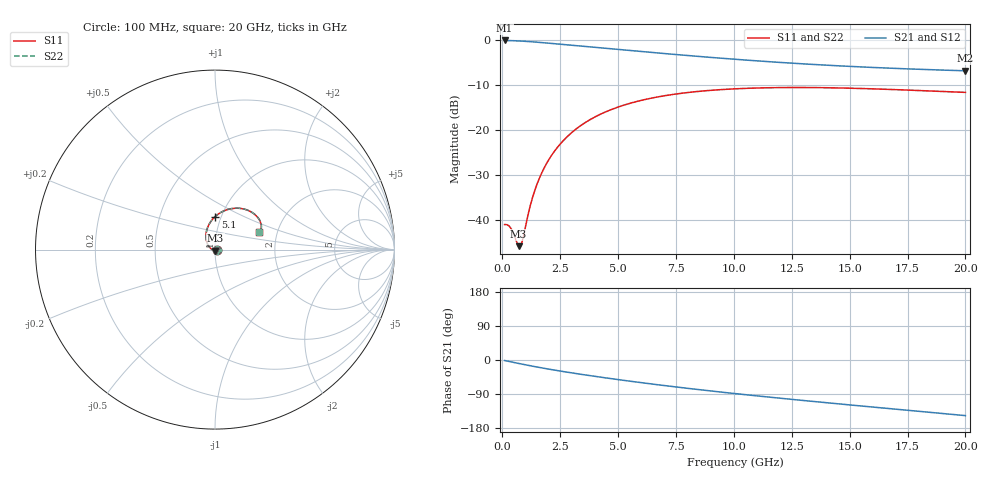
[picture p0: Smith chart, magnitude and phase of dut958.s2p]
! Touchstone file exported from HFSS 2024.1.0
!  File:  C:/UserFiles/LocalFiles/RDL_TSV_Batchsim/temp_RDL_TSV_958_1779967238.aedt
!  Generated:  07:34:17 PM May 28, 2026
!  Design:  RDL_TSV
!  Project:  temp_RDL_TSV_958_1779967238
!  Setup:  Setup1
!  Solution:  Sweep
! Variables:
!  dtsv = 9.14um
!  hbump = 3um
!  htsv = 62.81um
!  ldown = 444.61um
!  lrdl = 193.51um
!  p = 40
!  p1 = 49.41um
!  rhole = 10um
!  subl = 2107.87um
!  t = 450um
!  tdown = 3.44um
!  trdl = 4.01um
!  viad = 10um
!  wdown = 26.79um
!  wrdl = 24.05um
!  xbump = 18um
# GHz S MA R 50.000000
! Terminal data exported
! Port[1] = TM1_1_T1
! Port[2] = TM1_4_T1
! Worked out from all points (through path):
!   200 points, 100 MHz to 20 GHz, reference 50 ohm
!   highest |S21| = -0.08 dB at 100 MHz (marker M1); lowest = -6.8 dB at 20 GHz (marker M2)
!   group delay of S21, straight-line fit = 19.3 ps
!   lowest |S11| = -45.7 dB at 700 MHz (marker M3), VSWR 1.01, Z = 50.1 - j0.505 ohm
!   |S11| at or under -10 dB: start of sweep to end of sweep
!   |S22| runs from -45.7 to -10.5 dB; largest |S21 - S12| = 3.5e-14
!   S11 on the Smith chart (normalised r, x): 100 MHz: 1.02, -0.00; 5.1 GHz: 0.94, +0.36; 20 GHz: 1.60, +0.34
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0.1  0.008987 -3.0  0.9906 -1.3  0.9906 -1.3  0.008987 -3.0
! Gamma 0 0 0 0
! Port Impedance 50 0 50 0
0.3  0.008637 -15.3  0.9878 -4.0  0.9878 -4.0  0.008636 -15.3
0.4  0.007948 -24.4  0.9859 -5.2  0.9859 -5.2  0.007946 -24.4
0.7  0.005175 -76.7  0.9786 -9.0  0.9786 -9.0  0.005174 -76.8
0.8  0.005206 -107.0  0.9755 -10.3  0.9755 -10.3  0.005209 -107.0
0.9  0.006379 -134.5  0.9722 -11.5  0.9722 -11.5  0.006387 -134.6
1.1  0.01118 -167.1  0.9649 -13.9  0.9649 -13.9  0.0112 -167.1
1.3  0.0177 176.2  0.9567 -16.3  0.9567 -16.3  0.01773 176.2
1.5  0.02523 165.2  0.9479 -18.5  0.9479 -18.5  0.02526 165.2
1.8  0.03778 153.2  0.9339 -21.9  0.9339 -21.9  0.03782 153.2
2.1  0.05134 143.7  0.9194 -25.1  0.9194 -25.1  0.0514 143.7
2.5  0.07027 133.2  0.8997 -29.2  0.8997 -29.2  0.07035 133.2
3  0.0943 122.2  0.8755 -34.0  0.8755 -34.0  0.09441 122.3
3.5  0.1178 112.9  0.852 -38.7  0.852 -38.7  0.118 112.9
4.2  0.1489 101.6  0.8206 -44.9  0.8206 -44.9  0.1491 101.6
5.1  0.1844 89.5  0.7823 -52.5  0.7823 -52.5  0.1846 89.6
6.8  0.2363 71.6  0.7162 -66.0  0.7162 -66.0  0.2367 71.7
8.3  0.267 59.5  0.6644 -76.9  0.6644 -76.9  0.2674 59.5
10.1  0.2884 48.0  0.6111 -89.0  0.6111 -89.0  0.2889 48.1
13.4  0.2975 33.4  0.5372 -109.2  0.5372 -109.2  0.2981 33.4
16.7  0.2839 25.0  0.4883 -128.2  0.4883 -128.2  0.2846 25.0
20  0.263 22.3  0.4565 -146.7  0.4565 -146.7  0.2638 22.3
